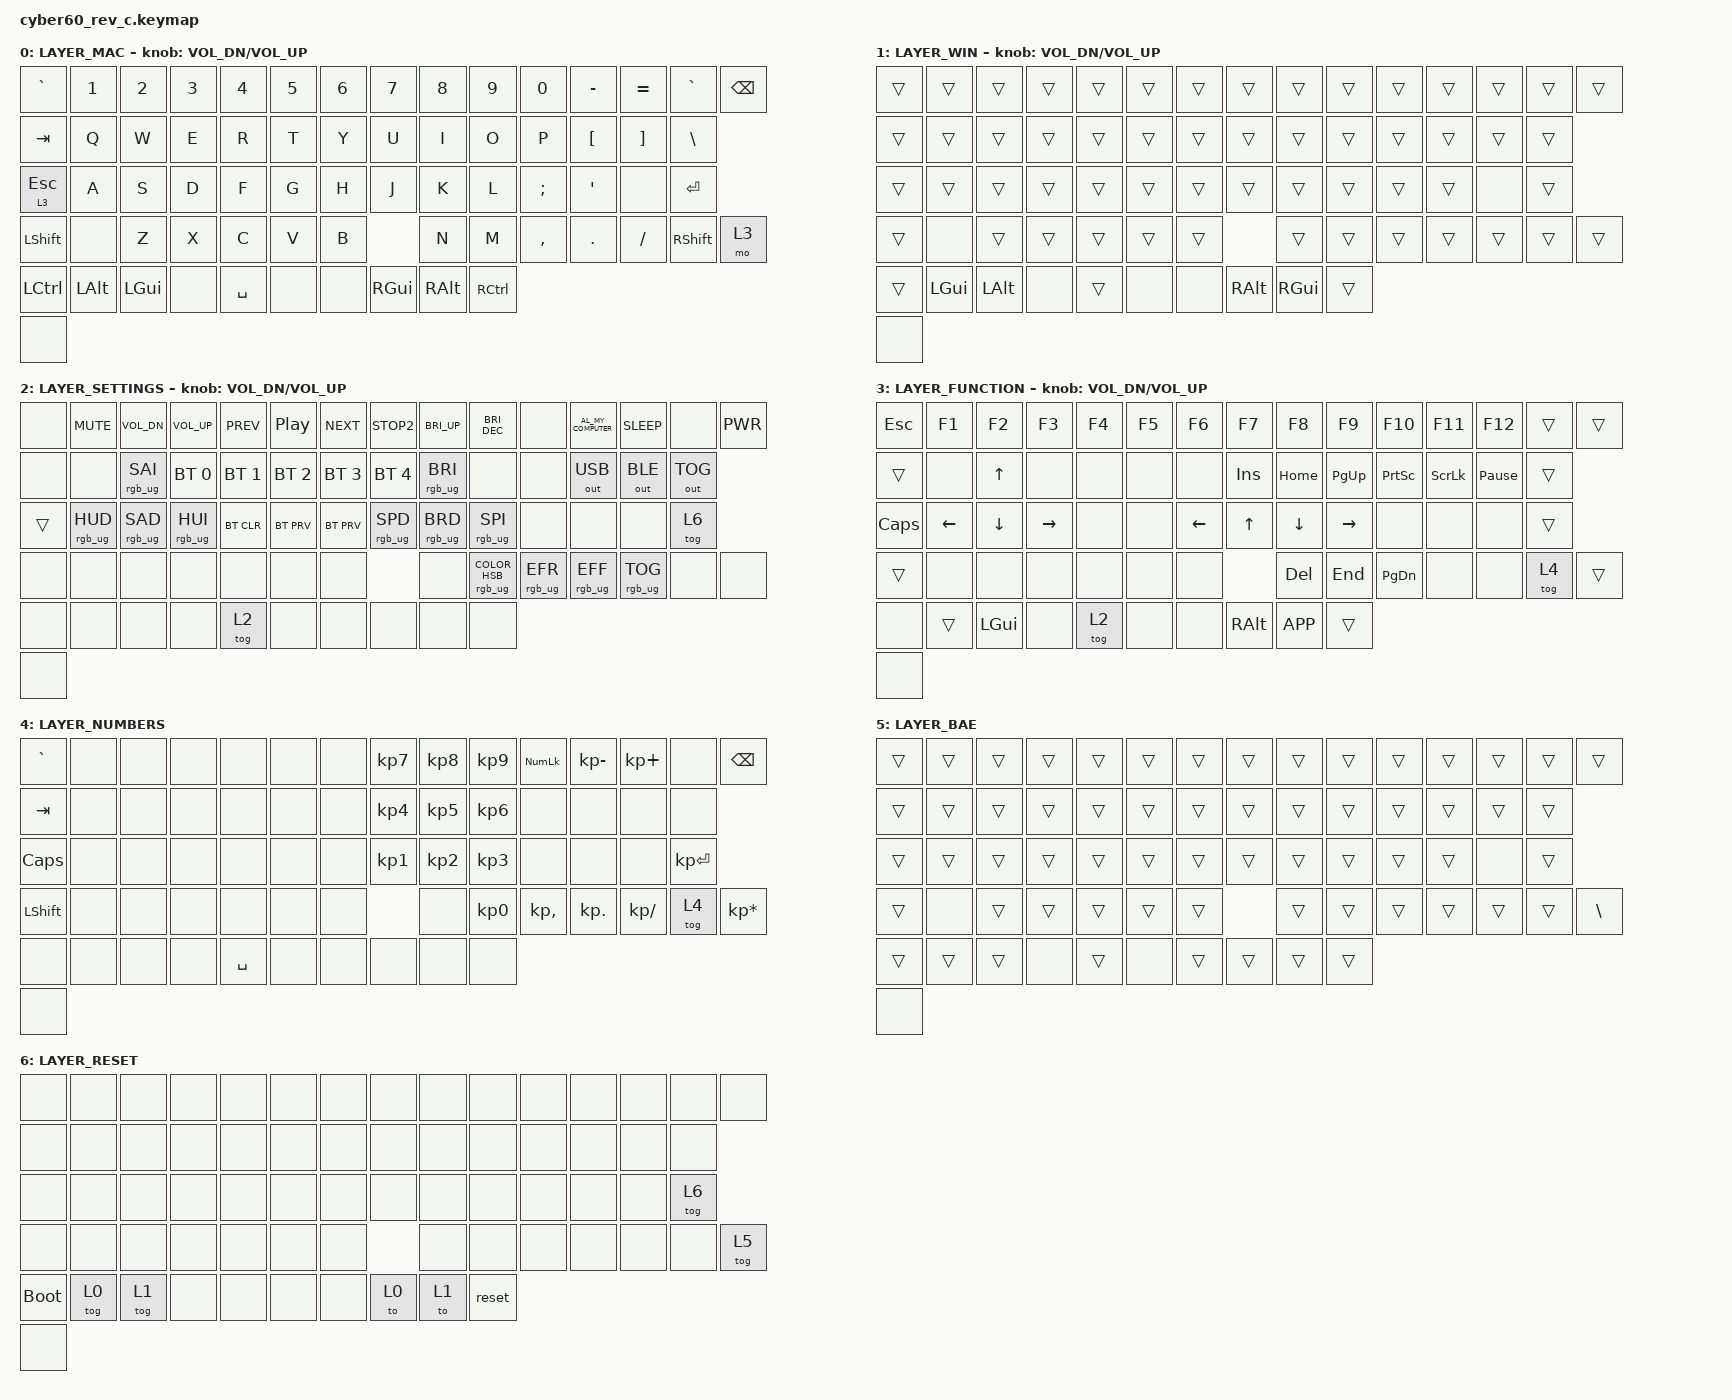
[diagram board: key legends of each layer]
//
//	\file		cyber60.keymap
//	\brief		Keymap file for cyber60 keyboard PCB
//
//	\author		Gemuele Aludino
//	\date		07 Jan 2023
//

#include <behaviors.dtsi>
#include <dt-bindings/zmk/keys.h>
#include <dt-bindings/zmk/rgb.h>
#include <dt-bindings/zmk/bt.h>
#include <dt-bindings/zmk/outputs.h>

/ {
    keymap {
        compatible = "zmk,keymap";

        LAYER_MAC {
            //
            // macOS-centric bottom row
            //

            bindings = <
 &kp GRAVE    &kp N1    &kp N2  &kp N3     &kp N4  &kp N5  &kp N6    &kp N7    &kp N8     &kp N9         &kp N0         &kp MINUS  &kp EQUAL  &kp GRAVE  &kp BACKSPACE
   &kp TAB     &kp Q     &kp W   &kp E      &kp R   &kp T   &kp Y     &kp U     &kp I      &kp O          &kp P          &kp LBKT   &kp RBKT   &kp BSLH
 &lt 3 ESC     &kp A     &kp S   &kp D      &kp F   &kp G   &kp H     &kp J     &kp K      &kp L  &kp SEMICOLON  &kp SINGLE_QUOTE      &none    &kp RET
 &kp LSHFT     &none     &kp Z   &kp X      &kp C   &kp V   &kp B     &kp N     &kp M  &kp COMMA        &kp DOT                     &kp FSLH  &kp RSHFT          &mo 3
 &kp LCTRL  &kp LALT  &kp LGUI   &none  &kp SPACE   &none   &none  &kp RGUI  &kp RALT  &kp RCTRL
     &none
            >;

            sensor-bindings = <&inc_dec_kp C_VOL_DN C_VOL_UP>;
        };

        LAYER_WIN {
            //
            // Windows-centric bottom row
            //

            bindings = <
 &trans    &trans    &trans  &trans  &trans  &trans  &trans    &trans    &trans  &trans  &trans  &trans  &trans  &trans  &trans
 &trans    &trans    &trans  &trans  &trans  &trans  &trans    &trans    &trans  &trans  &trans  &trans  &trans  &trans
 &trans    &trans    &trans  &trans  &trans  &trans  &trans    &trans    &trans  &trans  &trans  &trans   &none  &trans
 &trans     &none    &trans  &trans  &trans  &trans  &trans    &trans    &trans  &trans  &trans          &trans  &trans  &trans
 &trans  &kp LGUI  &kp LALT   &none  &trans   &none   &none  &kp RALT  &kp RGUI  &trans
  &none
            >;

            sensor-bindings = <&inc_dec_kp C_VOL_DN C_VOL_UP>;
        };

        LAYER_SETTINGS {
            //
            // Keyboard configuration (connectivity, lighting, bootloader, reset)
            //

            bindings = <
  &none       &kp K_MUTE     &kp C_VOL_DN     &kp C_VOL_UP    &kp C_PREV      &kp C_PP    &kp C_NEXT      &kp K_STOP2                    &kp C_BRI_UP    &kp C_BRI_DEC            &none  &kp C_AL_MY_COMPUTER      &kp K_SLEEP         &none  &kp C_PWR
  &none            &none  &rgb_ug RGB_SAI     &bt BT_SEL 0  &bt BT_SEL 1  &bt BT_SEL 2  &bt BT_SEL 3     &bt BT_SEL 4                 &rgb_ug RGB_BRI            &none            &none          &out OUT_USB     &out OUT_BLE  &out OUT_TOG
 &trans  &rgb_ug RGB_HUD  &rgb_ug RGB_SAD  &rgb_ug RGB_HUI    &bt BT_CLR    &bt BT_PRV    &bt BT_PRV  &rgb_ug RGB_SPD                 &rgb_ug RGB_BRD  &rgb_ug RGB_SPI            &none                 &none            &none        &tog 6
  &none            &none            &none            &none         &none         &none         &none            &none  &rgb_ug RGB_COLOR_HSB(0,0,100)  &rgb_ug RGB_EFR  &rgb_ug RGB_EFF                        &rgb_ug RGB_TOG         &none      &none
  &none            &none            &none            &none        &tog 2         &none         &none            &none                           &none            &none
  &none
            >;

            sensor-bindings = <&inc_dec_kp C_VOL_DN C_VOL_UP>;
        };

        LAYER_FUNCTION {
            //
            // Function keys, navigation cluster
            //

            bindings = <
  &kp ESC    &kp F1    &kp F2     &kp F3  &kp F4  &kp F5    &kp F6    &kp F7     &kp F8     &kp F9    &kp F10   &kp F11          &kp F12  &trans  &trans
   &trans     &none    &kp UP      &none   &none   &none     &none   &kp INS   &kp HOME  &kp PG_UP  &kp PSCRN  &kp SLCK  &kp PAUSE_BREAK  &trans
 &kp CAPS  &kp LEFT  &kp DOWN  &kp RIGHT   &none   &none  &kp LEFT    &kp UP   &kp DOWN  &kp RIGHT      &none     &none            &none  &trans
   &trans     &none     &none      &none   &none   &none     &none   &kp DEL    &kp END  &kp PG_DN      &none                      &none  &tog 4  &trans
    &none    &trans  &kp LGUI      &none  &tog 2   &none     &none  &kp RALT  &kp K_APP     &trans
    &none
            >;

            sensor-bindings = <&inc_dec_kp C_VOL_DN C_VOL_UP>;
        };

        LAYER_NUMBERS {
            bindings = <
 &kp GRAVE   &none   &none   &none      &none   &none   &none  &kp KP_N7        &kp KP_N8     &kp KP_N9  &kp KP_NUMLOCK  &kp KP_MINUS    &kp KP_PLUS         &none    &kp BACKSPACE
   &kp TAB   &none   &none   &none      &none   &none   &none  &kp KP_N4        &kp KP_N5     &kp KP_N6           &none         &none          &none         &none
  &kp CAPS   &none   &none   &none      &none   &none   &none  &kp KP_N1        &kp KP_N2     &kp KP_N3           &none         &none          &none  &kp KP_ENTER
 &kp LSHFT   &none   &none   &none      &none   &none   &none      &none  &kp KP_NUMBER_0  &kp KP_COMMA      &kp KP_DOT                &kp KP_DIVIDE        &tog 4  &kp KP_MULTIPLY
     &none   &none   &none   &none  &kp SPACE   &none   &none      &none            &none         &none
     &none
            >;
        };

        LAYER_BAE {
            bindings = <
 &trans  &trans  &trans  &trans  &trans  &trans  &trans  &trans  &trans  &trans  &trans  &trans  &trans  &trans         &trans
 &trans  &trans  &trans  &trans  &trans  &trans  &trans  &trans  &trans  &trans  &trans  &trans  &trans  &trans
 &trans  &trans  &trans  &trans  &trans  &trans  &trans  &trans  &trans  &trans  &trans  &trans   &none  &trans
 &trans   &none  &trans  &trans  &trans  &trans  &trans  &trans  &trans  &trans  &trans          &trans  &trans  &kp BACKSLASH
 &trans  &trans  &trans   &none  &trans   &none  &trans  &trans  &trans  &trans
  &none
            >;
        };

        LAYER_RESET {
            bindings = <
       &none   &none   &none   &none   &none   &none   &none   &none   &none   &none   &none   &none   &none   &none   &none
       &none   &none   &none   &none   &none   &none   &none   &none   &none   &none   &none   &none   &none   &none
       &none   &none   &none   &none   &none   &none   &none   &none   &none   &none   &none   &none   &none  &tog 6
       &none   &none   &none   &none   &none   &none   &none   &none   &none   &none   &none           &none   &none  &tog 5
 &bootloader  &tog 0  &tog 1   &none   &none   &none   &none   &to 0   &to 1  &reset
       &none
            >;
        };
    };
};
